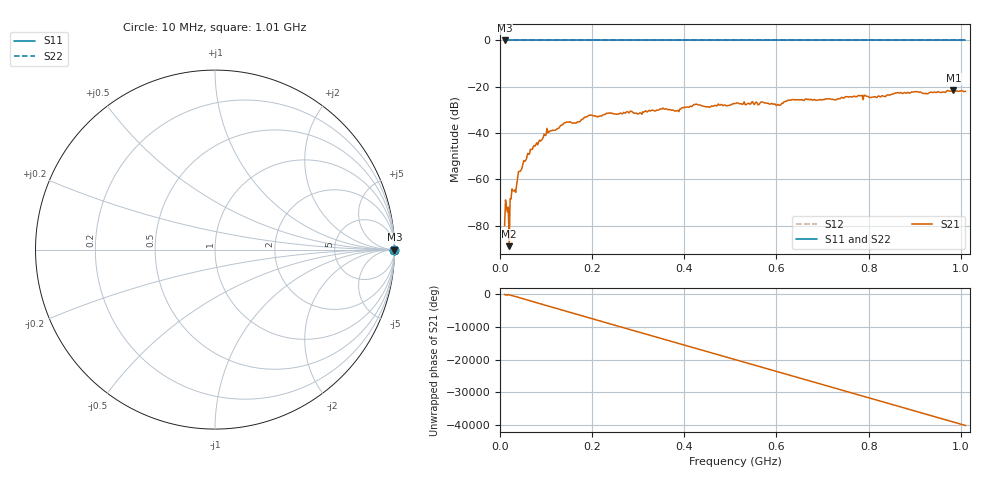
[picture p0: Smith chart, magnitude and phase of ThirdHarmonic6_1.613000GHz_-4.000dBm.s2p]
! 8/16/2025 7:14:53 PM
! C:\ANRITSUVNA\TEMP\TEMP.S2P
! CHANNEL.1
! TR.MEASUREMENT
! RAW.DATA
! RF.CORRECTION.OFF
! AVERAGING.OFF
! IF.BANDWIDTH: 5KHZ
! SWEEPTYPE:  FREQ.SWEEP(Linear)
! Reference Plane Port Info
! PORT:  PORT1  PORT2
! DISTANCE:  0  m  0  m
! TIME:  0  s  0  s
! PHASE.OFFSET:  0  deg.  0  deg.
! LOSS:  0  dB  0  dB
! REF.LOSS:  0  dB  0  dB
! REF.FREQ:  0  Hz  0  Hz
! Power Info
! POWER:  -20  dBm  -20  dBm
! EFF.POWER:  -20  dBm  -20  dBm
! SOURCE.ATTEN:  0  dB  0  dB
! TEST.ATTEN:  0  dB  0  dB
# GHZ S RI R 50.0
! FREQ.GHZ  S11RE  S11IM  S21RE  S21IM  S12RE  S12IM  S22RE  S22IM
!; PortSelection: Port_12
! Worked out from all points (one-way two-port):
!   501 points, 10 MHz to 1.01 GHz, reference 50 ohm
!   highest |S21| = -21.61 dB at 984 MHz (marker M1); lowest = -88.9 dB at 20 MHz (marker M2)
!   lowest |S11| = 0.0 dB at 10 MHz (marker M3)
!   |S11| at or under -10 dB: nowhere
!   |S22| runs from 0.0 to 0.0 dB; largest |S21 - S12| = 1.1
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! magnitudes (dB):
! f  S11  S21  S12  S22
! 10 MHz  0.0  -80.0  0.0  0.0
! 14 MHz  0.0  -71.9  0.0  0.0
! 20 MHz  0.0  -88.9  0.0  0.0
! 26 MHz  0.0  -64.2  0.0  0.0
! 34 MHz  0.0  -65.6  0.0  0.0
! 42 MHz  0.0  -56.6  0.0  0.0
! 70 MHz  0.0  -47.1  0.0  0.0
! 106 MHz  0.0  -39.7  0.0  0.0
! 142 MHz  0.0  -35.6  0.0  0.0
! 178 MHz  0.0  -34.1  0.0  0.0
! 196 MHz  0.0  -32.3  0.0  0.0
! 344 MHz  0.0  -30.1  0.0  0.0
! 384 MHz  0.0  -30.4  0.0  0.0
! 424 MHz  0.0  -27.7  0.0  0.0
! 452 MHz  0.0  -28.6  0.0  0.0
! 510 MHz  0.0  -27.3  0.0  0.0
! 604 MHz  0.0  -27.7  0.0  0.0
! 630 MHz  0.0  -25.9  0.0  0.0
! 678 MHz  0.0  -25.9  0.0  0.0
! 844 MHz  0.0  -23.6  0.0  0.0
! 984 MHz  0.0  -21.6  0.0  0.0
! 1.01 GHz  0.0  -22.0  0.0  0.0
